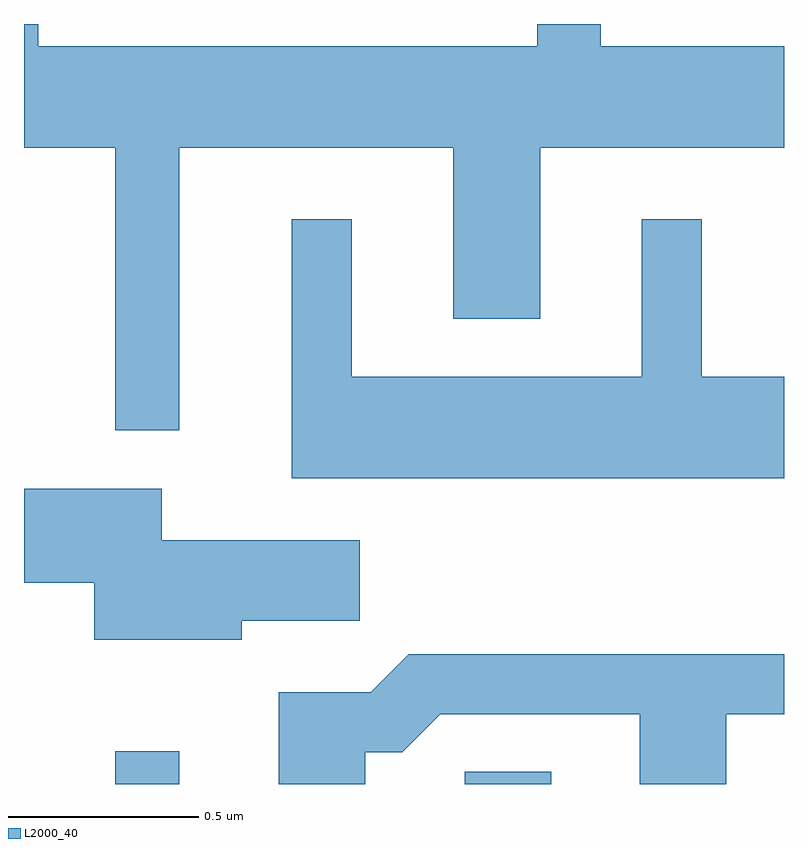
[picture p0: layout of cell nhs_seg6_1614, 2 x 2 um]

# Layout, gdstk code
import gdstk
lib = gdstk.Library(unit=1e-6, precision=1e-09)
def R(c, l, rs):  # rectangles x0, y0, x1, y1
    for r in rs: c.add(gdstk.rectangle(r[:2], r[2:], *l))
def P(c, l, *ps):  # polygons
    for p in ps: c.add(gdstk.Polygon(p, *l))
L2000_40 = (2000, 40)

nhs_seg6_1614 = lib.new_cell('nhs_seg6_1614')
R(nhs_seg6_1614, L2000_40, [(196.851,1637.162,197.019,1637.248), (197.771,1637.162,197.999,1637.194)])
P(nhs_seg6_1614, L2000_40, [(197.019,1638.836),(197.741,1638.836),(197.741,1638.386),(197.969,1638.386),(197.969,1638.836),(198.611,1638.836),(198.611,1639.104),(198.129,1639.104),(198.129,1639.162),(197.961,1639.162),(197.961,1639.104),(196.649,1639.104),(196.649,1639.162),(196.611,1639.162),(196.611,1638.836),(196.851,1638.836),(196.851,1638.093),(197.019,1638.093)],
  [(198.611,1638.234),(198.394,1638.234),(198.394,1638.648),(198.236,1638.648),(198.236,1638.234),(197.474,1638.234),(197.474,1638.648),(197.316,1638.648),(197.316,1637.966),(198.611,1637.966)],
  [(197.184,1637.591),(197.494,1637.591),(197.494,1637.804),(196.974,1637.804),(196.974,1637.939),(196.611,1637.939),(196.611,1637.691),(196.796,1637.691),(196.796,1637.541),(197.184,1637.541)],
  [(197.509,1637.246),(197.607,1637.246),(197.707,1637.346),(198.231,1637.346),(198.231,1637.162),(198.459,1637.162),(198.459,1637.346),(198.611,1637.346),(198.611,1637.504),(197.624,1637.504),(197.524,1637.404),(197.281,1637.404),(197.281,1637.162),(197.509,1637.162)])

lib.write_gds('nhs_seg6_1614.gds')
